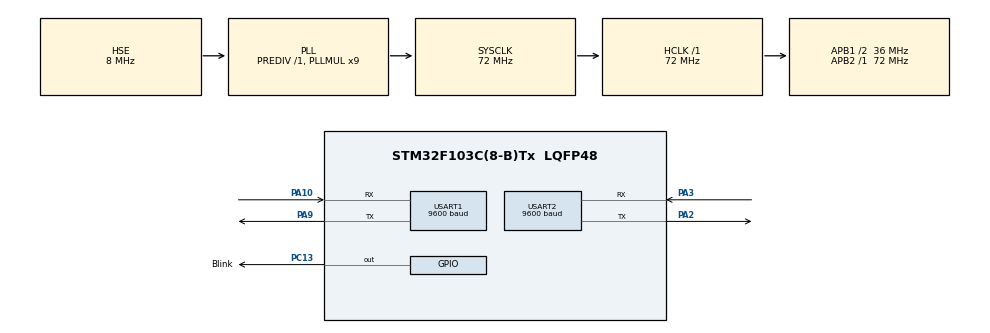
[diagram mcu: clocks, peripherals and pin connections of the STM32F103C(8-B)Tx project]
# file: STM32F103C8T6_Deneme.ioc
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Dma.Request0=USART2_RX
Dma.USART2_RX.0.Direction=DMA_PERIPH_TO_MEMORY
Dma.USART2_RX.0.Instance=DMA1_Channel6
Dma.USART2_RX.0.MemDataAlignment=DMA_MDATAALIGN_BYTE
Dma.USART2_RX.0.MemInc=DMA_MINC_ENABLE
Dma.USART2_RX.0.Mode=DMA_CIRCULAR
Dma.USART2_RX.0.PeriphDataAlignment=DMA_PDATAALIGN_BYTE
Dma.USART2_RX.0.PeriphInc=DMA_PINC_DISABLE
Dma.USART2_RX.0.Priority=DMA_PRIORITY_MEDIUM
Mcu.Family=STM32F1
Mcu.Name=STM32F103C(8-B)Tx
Mcu.Package=LQFP48
NVIC.DMA1_Channel6_IRQn=true\:0\:0\:false\:false\:true\:false\:true\:true
NVIC.PriorityGroup=NVIC_PRIORITYGROUP_4
NVIC.TIM1_UP_IRQn=true\:1\:0\:true\:false\:true\:true\:true\:true
NVIC.USART1_IRQn=true\:0\:0\:false\:false\:true\:true\:true\:true
PA10.Mode=Asynchronous
PA10.Signal=USART1_RX
PA13.Mode=Serial_Wire
PA13.Signal=SYS_JTMS-SWDIO
PA14.Mode=Serial_Wire
PA14.Signal=SYS_JTCK-SWCLK
PA2.Mode=Asynchronous
PA2.Signal=USART2_TX
PA3.Mode=Asynchronous
PA3.Signal=USART2_RX
PA9.Mode=Asynchronous
PA9.Signal=USART1_TX
PC13-TAMPER-RTC.GPIO_Label=Blink
PC13-TAMPER-RTC.Signal=GPIO_Output
PD0-OSC_IN.Mode=HSE-External-Oscillator
PD0-OSC_IN.Signal=RCC_OSC_IN
PD1-OSC_OUT.Mode=HSE-External-Oscillator
PD1-OSC_OUT.Signal=RCC_OSC_OUT
ProjectManager.HeapSize=0x200
ProjectManager.StackSize=0x400
ProjectManager.TargetToolchain=STM32CubeIDE
RCC.AHBFreq_Value=72000000
RCC.APB1CLKDivider=RCC_HCLK_DIV2
RCC.APB1Freq_Value=36000000
RCC.APB1TimFreq_Value=72000000
RCC.APB2Freq_Value=72000000
RCC.APB2TimFreq_Value=72000000
RCC.HCLKFreq_Value=72000000
RCC.PLLMUL=RCC_PLL_MUL9
RCC.PLLSourceVirtual=RCC_PLLSOURCE_HSE
RCC.SYSCLKFreq_VALUE=72000000
RCC.SYSCLKSource=RCC_SYSCLKSOURCE_PLLCLK
RCC.USBFreq_Value=72000000
TIM1.Period=9999
TIM1.Prescaler=7199
USART1.BaudRate=9600
USART1.VirtualMode=VM_ASYNC
USART2.BaudRate=9600
USART2.VirtualMode=VM_ASYNC
VP_TIM1_VS_ClockSourceINT.Mode=Internal
board=custom

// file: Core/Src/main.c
/* USER CODE BEGIN Header */
/**
  ******************************************************************************
  * @file           : main.c
  * @brief          : Main program body
  ******************************************************************************
  * @attention
  *
  * Copyright (c) 2023 STMicroelectronics.
  * All rights reserved.
  *
  * This software is licensed under terms that can be found in the LICENSE file
  * in the root directory of this software component.
  * If no LICENSE file comes with this software, it is provided AS-IS.
  *
  ******************************************************************************
  */
/* USER CODE END Header */
#include "main.h"

/* USER CODE BEGIN Includes */
#include <SIM800.h>
#include "string.h"
#include <GPS.h>
#include <Sublib.h>
#include <stdbool.h>
/* USER CODE END Includes */

TIM_HandleTypeDef htim1;

UART_HandleTypeDef huart1;
UART_HandleTypeDef huart2;
DMA_HandleTypeDef hdma_usart2_rx;

/* USER CODE BEGIN PV */
char RxBuffer[25];
char ReOrder[10];
int  data_cntr=0,step_cntr=0;
uint8_t check_val=0;
//char Data[100];
char Buffer[500],Buffer2[500];
uint8_t tim_cntr=0;

//koordinat
float y=0,x=0;

//---EXTERN

extern bool GPS_Connection_Stat;
extern bool GPS_Location_Data_Received;
extern struct Coordinate Coord;
extern struct GGA_Str Time;

/* USER CODE END PV */

void SystemClock_Config(void);
static void MX_GPIO_Init(void);
static void MX_DMA_Init(void);
static void MX_USART1_UART_Init(void);
static void MX_TIM1_Init(void);
static void MX_USART2_UART_Init(void);

/* USER CODE BEGIN 0 */

void HAL_TIM_PeriodElapsedCallback(TIM_HandleTypeDef *htim)
{
	//if(htim->Instance == htim1.Instance)
	if(htim == &htim1)
	{
		HAL_GPIO_TogglePin(Blink_GPIO_Port,Blink_Pin);

		tim_cntr++;
		if(tim_cntr==3)//Her üç saniyede bir zaman ve konum bilgileri güncelleniyor
		{
			Set_Time();
			Set_Location();
			tim_cntr=0;
		}
	}
}

void HAL_UART_RxCpltCallback(UART_HandleTypeDef *huart)
{
	if(huart == &huart1)
	{

	}
	HAL_UART_Receive_IT(&huart1, RxBuffer,20);

}

/* USER CODE END 0 */

int main(void)
{

  /* MCU Configuration--------------------------------------------------------*/

  /* Reset of all peripherals, Initializes the Flash interface and the Systick. */
  HAL_Init();

  /* Configure the system clock */
  SystemClock_Config();

  /* Initialize all configured peripherals */
  MX_GPIO_Init();
  MX_DMA_Init();
  MX_USART1_UART_Init();
  MX_TIM1_Init();
  MX_USART2_UART_Init();
  /* USER CODE BEGIN 2 */
 // SIM800_Init();

  HAL_UART_Receive_DMA(&huart2, Buffer, 500);
  HAL_UART_Receive_IT(&huart1, RxBuffer,20);
  HAL_TIM_Base_Start_IT(&htim1);

 // HAL_UART_Receive_DMA(&huart1, (uint8_t*)RxBuffer,25);
  /* USER CODE END 2 */

  /* Infinite loop */
  while (1)
  {

    /* USER CODE BEGIN 3 */

	  //HAL_GPIO_TogglePin(Blink_GPIO_Port,Blink_Pin);

      HAL_Delay(2000);
      //test4();
	  //Send_Time();
      Send_Location();
  }
  /* USER CODE END 3 */
}

void SystemClock_Config(void)
{
  RCC_OscInitTypeDef RCC_OscInitStruct = {0};
  RCC_ClkInitTypeDef RCC_ClkInitStruct = {0};

  /** Initializes the RCC Oscillators according to the specified parameters
  * in the RCC_OscInitTypeDef structure.
  */
  RCC_OscInitStruct.OscillatorType = RCC_OSCILLATORTYPE_HSE;
  RCC_OscInitStruct.HSEState = RCC_HSE_ON;
  RCC_OscInitStruct.HSEPredivValue = RCC_HSE_PREDIV_DIV1;
  RCC_OscInitStruct.HSIState = RCC_HSI_ON;
  RCC_OscInitStruct.PLL.PLLState = RCC_PLL_ON;
  RCC_OscInitStruct.PLL.PLLSource = RCC_PLLSOURCE_HSE;
  RCC_OscInitStruct.PLL.PLLMUL = RCC_PLL_MUL9;
  if (HAL_RCC_OscConfig(&RCC_OscInitStruct) != HAL_OK)
  {
    Error_Handler();
  }

  /** Initializes the CPU, AHB and APB buses clocks
  */
  RCC_ClkInitStruct.ClockType = RCC_CLOCKTYPE_HCLK|RCC_CLOCKTYPE_SYSCLK
                              |RCC_CLOCKTYPE_PCLK1|RCC_CLOCKTYPE_PCLK2;
  RCC_ClkInitStruct.SYSCLKSource = RCC_SYSCLKSOURCE_PLLCLK;
  RCC_ClkInitStruct.AHBCLKDivider = RCC_SYSCLK_DIV1;
  RCC_ClkInitStruct.APB1CLKDivider = RCC_HCLK_DIV2;
  RCC_ClkInitStruct.APB2CLKDivider = RCC_HCLK_DIV1;

  if (HAL_RCC_ClockConfig(&RCC_ClkInitStruct, FLASH_LATENCY_2) != HAL_OK)
  {
    Error_Handler();
  }
}

static void MX_TIM1_Init(void)
{

  TIM_ClockConfigTypeDef sClockSourceConfig = {0};
  TIM_MasterConfigTypeDef sMasterConfig = {0};

  htim1.Instance = TIM1;
  htim1.Init.Prescaler = 7199;
  htim1.Init.CounterMode = TIM_COUNTERMODE_UP;
  htim1.Init.Period = 9999;
  htim1.Init.ClockDivision = TIM_CLOCKDIVISION_DIV1;
  htim1.Init.RepetitionCounter = 0;
  htim1.Init.AutoReloadPreload = TIM_AUTORELOAD_PRELOAD_DISABLE;
  if (HAL_TIM_Base_Init(&htim1) != HAL_OK)
  {
    Error_Handler();
  }
  sClockSourceConfig.ClockSource = TIM_CLOCKSOURCE_INTERNAL;
  if (HAL_TIM_ConfigClockSource(&htim1, &sClockSourceConfig) != HAL_OK)
  {
    Error_Handler();
  }
  sMasterConfig.MasterOutputTrigger = TIM_TRGO_RESET;
  sMasterConfig.MasterSlaveMode = TIM_MASTERSLAVEMODE_DISABLE;
  if (HAL_TIMEx_MasterConfigSynchronization(&htim1, &sMasterConfig) != HAL_OK)
  {
    Error_Handler();
  }

}

static void MX_USART1_UART_Init(void)
{

  huart1.Instance = USART1;
  huart1.Init.BaudRate = 9600;
  huart1.Init.WordLength = UART_WORDLENGTH_8B;
  huart1.Init.StopBits = UART_STOPBITS_1;
  huart1.Init.Parity = UART_PARITY_NONE;
  huart1.Init.Mode = UART_MODE_TX_RX;
  huart1.Init.HwFlowCtl = UART_HWCONTROL_NONE;
  huart1.Init.OverSampling = UART_OVERSAMPLING_16;
  if (HAL_UART_Init(&huart1) != HAL_OK)
  {
    Error_Handler();
  }

}

static void MX_USART2_UART_Init(void)
{

  huart2.Instance = USART2;
  huart2.Init.BaudRate = 9600;
  huart2.Init.WordLength = UART_WORDLENGTH_8B;
  huart2.Init.StopBits = UART_STOPBITS_1;
  huart2.Init.Parity = UART_PARITY_NONE;
  huart2.Init.Mode = UART_MODE_TX_RX;
  huart2.Init.HwFlowCtl = UART_HWCONTROL_NONE;
  huart2.Init.OverSampling = UART_OVERSAMPLING_16;
  if (HAL_UART_Init(&huart2) != HAL_OK)
  {
    Error_Handler();
  }

}

static void MX_DMA_Init(void)
{

  /* DMA controller clock enable */
  __HAL_RCC_DMA1_CLK_ENABLE();

  /* DMA interrupt init */
  /* DMA1_Channel6_IRQn interrupt configuration */
  HAL_NVIC_SetPriority(DMA1_Channel6_IRQn, 0, 0);
  HAL_NVIC_EnableIRQ(DMA1_Channel6_IRQn);

}

static void MX_GPIO_Init(void)
{
  GPIO_InitTypeDef GPIO_InitStruct = {0};

  /* GPIO Ports Clock Enable */
  __HAL_RCC_GPIOC_CLK_ENABLE();
  __HAL_RCC_GPIOD_CLK_ENABLE();
  __HAL_RCC_GPIOA_CLK_ENABLE();

  /*Configure GPIO pin Output Level */
  HAL_GPIO_WritePin(Blink_GPIO_Port, Blink_Pin, GPIO_PIN_RESET);

  /*Configure GPIO pin : Blink_Pin */
  GPIO_InitStruct.Pin = Blink_Pin;
  GPIO_InitStruct.Mode = GPIO_MODE_OUTPUT_PP;
  GPIO_InitStruct.Pull = GPIO_NOPULL;
  GPIO_InitStruct.Speed = GPIO_SPEED_FREQ_LOW;
  HAL_GPIO_Init(Blink_GPIO_Port, &GPIO_InitStruct);

}

void Error_Handler(void)
{
  __disable_irq();
  while (1)
  {
  }
}
